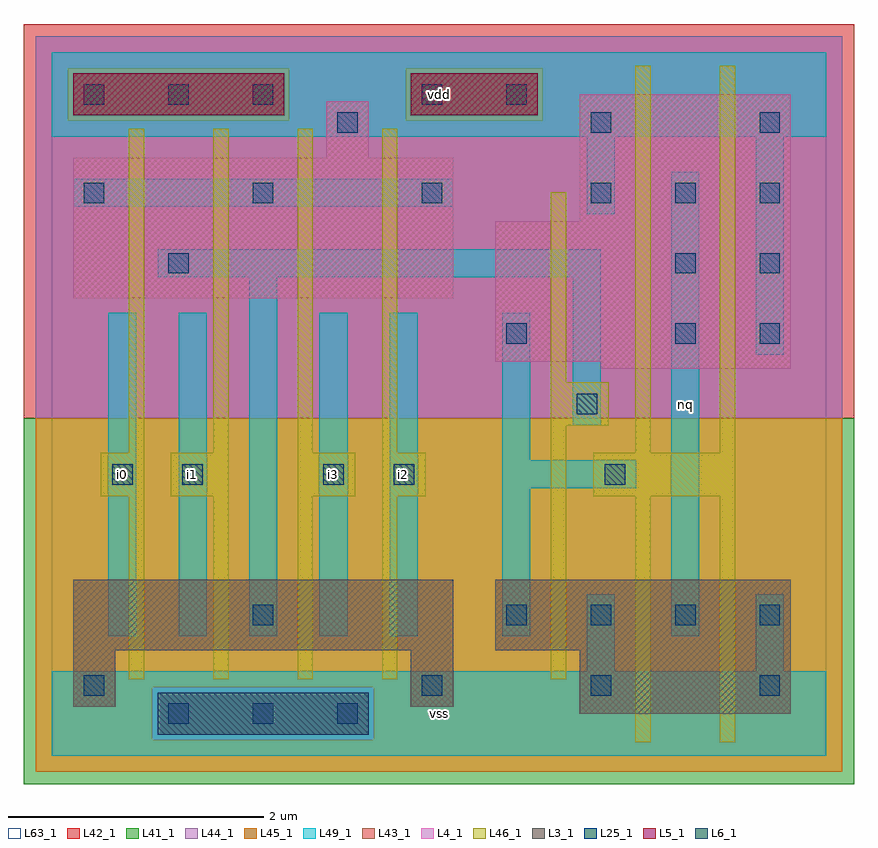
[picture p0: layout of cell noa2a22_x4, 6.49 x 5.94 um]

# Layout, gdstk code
import gdstk
lib = gdstk.Library(unit=1e-6, precision=1e-09)
def R(c, l, rs):  # rectangles x0, y0, x1, y1
    for r in rs: c.add(gdstk.rectangle(r[:2], r[2:], *l))
def A(c, l, x, y, w, h, nx, ny, dx, dy):  # array of equal rectangles
    R(c, l, [(x+i*dx, y+j*dy, x+i*dx+w, y+j*dy+h) for i in range(nx) for j in range(ny)])
L3_1 = (3, 1)
L4_1 = (4, 1)
L5_1 = (5, 1)
L6_1 = (6, 1)
L25_1 = (25, 1)
L41_1 = (41, 1)
L42_1 = (42, 1)
L43_1 = (43, 1)
L44_1 = (44, 1)
L45_1 = (45, 1)
L46_1 = (46, 1)
L49_1 = (49, 1)
L63_1 = (63, 1)

noa2a22_x4 = lib.new_cell('noa2a22_x4')
R(noa2a22_x4, L3_1, [(4.125,0.33,5.775,0.825), (0.165,0.385,0.495,0.825), (2.805,0.385,3.135,0.825), (0.165,0.825,3.135,1.375), (3.465,0.825,5.775,1.375)])
R(noa2a22_x4, L4_1, [(4.29,3.025,5.775,3.08), (3.465,3.08,5.775,4.18), (0.165,3.575,3.135,4.675), (4.125,4.18,5.775,5.17), (2.145,4.675,2.475,5.115)])
R(noa2a22_x4, L5_1, [(0.165,5.005,1.815,5.335), (2.805,5.005,3.795,5.335)])
R(noa2a22_x4, L6_1, [(0.825,0.165,2.475,0.495)])
A(noa2a22_x4, L25_1, 0.91, 0.25, 0.16, 0.16, 3, 1, 0.66, 0)
A(noa2a22_x4, L25_1, 2.89, 0.47, 0.16, 0.16, 3, 1, 1.32, 0)
A(noa2a22_x4, L25_1, 3.55, 1.02, 0.16, 0.16, 4, 1, 0.66, 0)
A(noa2a22_x4, L25_1, 4.87, 3.22, 0.16, 0.16, 1, 3, 0, 0.55)
A(noa2a22_x4, L25_1, 5.53, 3.22, 0.16, 0.16, 1, 4, 0, 0.55)
A(noa2a22_x4, L25_1, 0.25, 4.32, 0.16, 0.16, 4, 1, 1.32, 0)
A(noa2a22_x4, L25_1, 0.25, 5.09, 0.16, 0.16, 3, 1, 0.66, 0)
R(noa2a22_x4, L25_1, [(0.25,0.47,0.41,0.63), (1.57,1.02,1.73,1.18), (0.47,2.12,0.63,2.28), (1.02,2.12,1.18,2.28), (2.12,2.12,2.28,2.28), (2.67,2.12,2.83,2.28), (4.32,2.12,4.48,2.28), (4.1,2.67,4.26,2.83), (3.55,3.22,3.71,3.38), (0.91,3.77,1.07,3.93), (2.23,4.87,2.39,5.03), (4.21,4.87,4.37,5.03), (2.89,5.09,3.05,5.25), (3.55,5.09,3.71,5.25)])
R(noa2a22_x4, L41_1, [(-0.22,-0.22,6.27,2.64)])
R(noa2a22_x4, L42_1, [(-0.22,2.64,6.27,5.72)])
R(noa2a22_x4, L43_1, [(0.825,0.165,2.475,0.495), (4.125,0.33,5.775,0.825), (0.165,0.385,0.495,0.825), (2.805,0.385,3.135,0.825), (0.165,0.825,3.135,1.375), (3.465,0.825,5.775,1.375), (4.29,3.025,5.775,3.08), (3.465,3.08,5.775,4.18), (0.165,3.575,3.135,4.675), (4.125,4.18,5.775,5.17), (2.145,4.675,2.475,5.115), (0.165,5.005,1.815,5.335), (2.805,5.005,3.795,5.335)])
R(noa2a22_x4, L44_1, [(0.785,0.125,2.515,0.535), (-0.125,2.64,6.175,4.965), (-0.125,4.965,0.125,5.375), (1.855,4.965,2.765,5.375), (3.835,4.965,6.175,5.375), (-0.125,5.375,6.175,5.625)])
R(noa2a22_x4, L45_1, [(-0.125,-0.125,6.175,0.125), (-0.125,0.125,0.785,0.535), (2.515,0.125,6.175,0.535), (-0.125,0.535,6.175,2.64), (0.125,4.965,1.855,5.375), (2.765,4.965,3.835,5.375)])
A(noa2a22_x4, L46_1, 0.6, 0.6, 0.12, 1.43, 4, 1, 0.66, 0)
A(noa2a22_x4, L46_1, 0.6, 2.37, 0.12, 2.53, 4, 1, 0.66, 0)
R(noa2a22_x4, L46_1, [(4.56,0.105,4.68,2.03), (5.22,0.105,5.34,2.03), (3.9,0.6,4.02,2.58), (0.38,2.03,0.72,2.37), (0.93,2.03,1.38,2.37), (1.92,2.03,2.37,2.37), (2.58,2.03,2.92,2.37), (4.23,2.03,5.34,2.37), (4.56,2.37,4.68,5.395), (5.22,2.37,5.34,5.395), (3.9,2.58,4.35,2.92), (3.9,2.92,4.02,4.405)])
R(noa2a22_x4, L49_1, [(0,0,6.05,0.66), (4.18,0.66,4.4,1.265), (5.5,0.66,5.72,1.265), (0.44,0.935,0.66,3.465), (0.99,0.935,1.21,3.465), (1.54,0.935,1.76,3.74), (2.09,0.935,2.31,3.465), (2.64,0.935,2.86,3.465), (3.52,0.935,3.74,2.09), (4.84,0.935,5.06,4.565), (3.52,2.09,4.565,2.31), (3.52,2.31,3.74,3.465), (4.07,2.585,4.29,3.74), (5.5,3.135,5.72,4.84), (0.825,3.74,4.29,3.96), (4.18,4.235,4.4,4.84), (0.165,4.29,3.135,4.51), (0,4.84,6.05,5.5)])
R(noa2a22_x4, L63_1, [(0,0,6.05,5.5)])
noa2a22_x4.add(gdstk.Label('i0', (0.55,2.2), layer=49, texttype=1))
noa2a22_x4.add(gdstk.Label('i3', (2.2,2.2), layer=49, texttype=1))
noa2a22_x4.add(gdstk.Label('i1', (1.1,2.2), layer=49, texttype=1))
noa2a22_x4.add(gdstk.Label('vss', (3.025,0.33), layer=49, texttype=1))
noa2a22_x4.add(gdstk.Label('i2', (2.75,2.2), layer=49, texttype=1))
noa2a22_x4.add(gdstk.Label('vdd', (3.025,5.17), layer=49, texttype=1))
noa2a22_x4.add(gdstk.Label('nq', (4.95,2.75), layer=49, texttype=1))

lib.write_gds('noa2a22_x4.gds')
